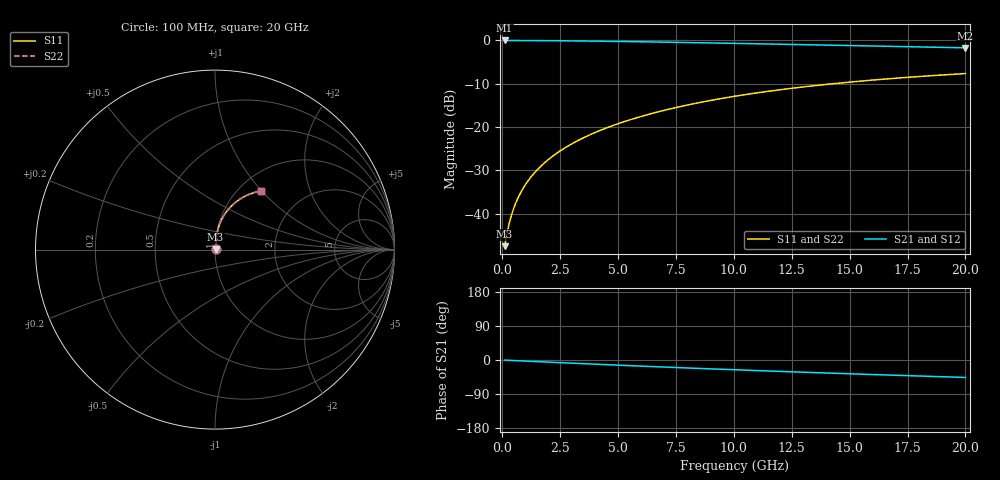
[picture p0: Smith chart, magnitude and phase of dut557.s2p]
! Touchstone file exported from HFSS 2024.1.0
!  File:  C:/UserFiles/LocalFiles/RDL_TSV_Batchsim/temp_RDL_bottom_557_1779689659.aedt
!  Generated:  02:16:38 PM May 25, 2026
!  Design:  RDL_bottom
!  Project:  temp_RDL_bottom_557_1779689659
!  Setup:  Setup1
!  Solution:  Sweep
! Variables:
!  dtsv = 10.80580581um
!  hbump = 3um
!  htsv = 76.56um
!  ldown = 630.59um
!  lrdl = 100um
!  p = 40
!  p1 = 55.86um
!  rhole = 1um
!  t = 450um
!  tdown = 2.93um
!  trdl = 3.915915916um
!  wdown = 23.24um
!  wrdl = 20um
# GHz S MA R 50.000000
! Terminal data exported
! Port[1] = RDL1_T1
! Port[2] = RDL1_T2
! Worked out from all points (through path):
!   200 points, 100 MHz to 20 GHz, reference 50 ohm
!   highest |S21| = -0.03 dB at 100 MHz (marker M1); lowest = -1.7 dB at 20 GHz (marker M2)
!   group delay of S21, straight-line fit = 6.35 ps
!   lowest |S11| = -47.5 dB at 100 MHz (marker M3), VSWR 1.01, Z = 50.4 + j0.232 ohm
!   |S11| at or under -10 dB: start of sweep to 14.32 GHz
!   |S22| runs from -47.5 to -7.7 dB; largest |S21 - S12| = 1.5e-14
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0.1  0.004204 33.2  0.9965 -0.3  0.9965 -0.3  0.004204 33.2
! Gamma 0 0 0 0
! Port Impedance 50 0 50 0
0.2  0.005836 51.1  0.9963 -0.6  0.9963 -0.6  0.005836 51.1
0.3  0.007725 60.2  0.9961 -0.9  0.9961 -0.9  0.007725 60.2
0.4  0.009672 65.5  0.9959 -1.2  0.9959 -1.2  0.009672 65.5
0.5  0.01163 69.1  0.9956 -1.4  0.9956 -1.4  0.01163 69.1
0.6  0.0136 71.7  0.9954 -1.7  0.9954 -1.7  0.0136 71.7
0.8  0.01757 75.2  0.995 -2.3  0.995 -2.3  0.01757 75.2
1.1  0.02362 78.5  0.9942 -3.1  0.9942 -3.1  0.02362 78.5
1.3  0.0277 79.8  0.9937 -3.7  0.9937 -3.7  0.0277 79.8
1.6  0.0339 81.2  0.9927 -4.5  0.9927 -4.5  0.0339 81.2
2.1  0.04441 82.5  0.9907 -5.9  0.9907 -5.9  0.04441 82.5
2.7  0.05728 83.2  0.9877 -7.6  0.9877 -7.6  0.05728 83.2
3.5  0.07486 83.2  0.9827 -9.7  0.9827 -9.7  0.07486 83.3
4.2  0.09061 82.8  0.9777 -11.6  0.9777 -11.6  0.09061 82.8
5  0.109 82.0  0.9713 -13.7  0.9713 -13.7  0.109 82.0
6.8  0.1511 79.2  0.9551 -18.2  0.9551 -18.2  0.1511 79.2
8.4  0.1885 76.1  0.9394 -22.0  0.9394 -22.0  0.1886 76.1
10.1  0.2275 72.5  0.9219 -25.9  0.9219 -25.9  0.2275 72.5
11.7  0.2626 69.0  0.9052 -29.5  0.9052 -29.5  0.2627 69.1
13.4  0.298 65.4  0.8872 -33.1  0.8872 -33.1  0.2981 65.4
16.7  0.3601 58.5  0.8526 -39.8  0.8526 -39.8  0.3602 58.6
20  0.4132 52.1  0.819 -46.0  0.819 -46.0  0.4133 52.2
